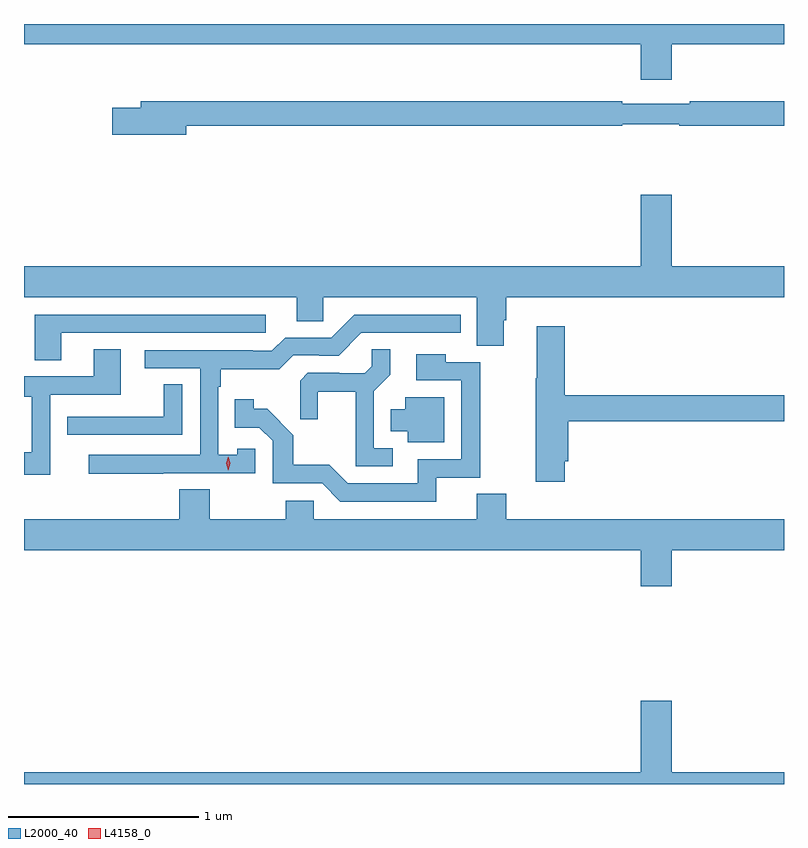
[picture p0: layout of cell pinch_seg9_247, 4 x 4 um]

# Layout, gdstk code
import gdstk
lib = gdstk.Library(unit=1e-6, precision=1e-09)
def P(c, l, *ps):  # polygons
    for p in ps: c.add(gdstk.Polygon(p, *l))
L2000_40 = (2000, 40)
L4158_0 = (4158, 0)

pinch_seg9_247 = lib.new_cell('pinch_seg9_247')
P(pinch_seg9_247, L2000_40, [(452.884,1248.368),(453.475,1248.368),(453.475,1248.474),(449.475,1248.474),(449.475,1248.368),(452.72,1248.368),(452.72,1248.18),(452.884,1248.18)],
  [(450.328,1247.938),(452.624,1247.938),(452.624,1247.946),(452.924,1247.946),(452.924,1247.938),(453.475,1247.938),(453.475,1248.067),(452.98,1248.067),(452.98,1248.054),(452.624,1248.054),(452.624,1248.067),(450.089,1248.067),(450.089,1248.033),(449.94,1248.033),(449.94,1247.891),(450.328,1247.891)],
  [(451.999,1246.914),(452.012,1246.914),(452.012,1247.036),(453.475,1247.036),(453.475,1247.2),(452.884,1247.2),(452.884,1247.575),(452.72,1247.575),(452.72,1247.2),(449.475,1247.2),(449.475,1247.036),(450.911,1247.036),(450.911,1246.909),(451.05,1246.909),(451.05,1247.036),(451.859,1247.036),(451.859,1246.78),(451.999,1246.78)],
  [(449.671,1246.848),(450.748,1246.848),(450.748,1246.944),(449.531,1246.944),(449.531,1246.705),(449.671,1246.705)],
  [(450.209,1246.11),(450.693,1246.11),(450.693,1246.239),(450.597,1246.239),(450.597,1246.207),(450.498,1246.207),(450.498,1246.565),(450.511,1246.565),(450.511,1246.658),(450.818,1246.658),(450.891,1246.731),(451.03,1246.731),(451.03,1246.728),(451.131,1246.728),(451.251,1246.848),(451.774,1246.848),(451.774,1246.944),(451.212,1246.944),(451.092,1246.824),(450.849,1246.824),(450.78,1246.755),(450.68,1246.755),(450.68,1246.758),(450.111,1246.758),(450.111,1246.662),(450.402,1246.662),(450.402,1246.206),(449.817,1246.206),(449.817,1246.108),(450.209,1246.108)],
  [(452.321,1246.173),(452.339,1246.173),(452.339,1246.384),(453.475,1246.384),(453.475,1246.52),(452.321,1246.52),(452.321,1246.882),(452.174,1246.882),(452.174,1246.609),(452.168,1246.609),(452.168,1246.064),(452.321,1246.064)],
  [(449.613,1246.524),(449.983,1246.524),(449.983,1246.763),(449.843,1246.763),(449.843,1246.62),(449.475,1246.62),(449.475,1246.512),(449.516,1246.512),(449.516,1246.221),(449.475,1246.221),(449.475,1246.101),(449.613,1246.101)],
  [(451.417,1246.242),(451.317,1246.242),(451.317,1246.541),(451.403,1246.627),(451.403,1246.763),(451.305,1246.763),(451.305,1246.672),(451.268,1246.635),(451.134,1246.635),(451.134,1246.638),(450.969,1246.638),(450.928,1246.597),(450.928,1246.395),(451.022,1246.395),(451.022,1246.538),(451.22,1246.538),(451.22,1246.146),(451.417,1246.146)],
  [(451.646,1246.086),(451.877,1246.086),(451.877,1246.695),(451.695,1246.695),(451.695,1246.735),(451.539,1246.735),(451.539,1246.599),(451.776,1246.599),(451.776,1246.182),(451.547,1246.182),(451.547,1246.056),(451.179,1246.056),(451.081,1246.155),(450.892,1246.155),(450.892,1246.31),(450.754,1246.448),(450.684,1246.448),(450.684,1246.498),(450.583,1246.498),(450.583,1246.35),(450.714,1246.35),(450.783,1246.281),(450.783,1246.056),(451.044,1246.056),(451.14,1245.96),(451.646,1245.96)],
  [(450.309,1246.577),(450.211,1246.577),(450.211,1246.407),(449.815,1246.407),(449.815,1246.406),(449.703,1246.406),(449.703,1246.311),(450.309,1246.311)],
  [(451.687,1246.51),(451.481,1246.51),(451.481,1246.447),(451.406,1246.447),(451.406,1246.331),(451.496,1246.331),(451.496,1246.274),(451.687,1246.274)],
  [(452.884,1245.704),(453.475,1245.704),(453.475,1245.868),(452.012,1245.868),(452.012,1246.001),(451.859,1246.001),(451.859,1245.868),(450.999,1245.868),(450.999,1245.966),(450.853,1245.966),(450.853,1245.868),(450.453,1245.868),(450.453,1246.025),(450.293,1246.025),(450.293,1245.868),(449.475,1245.868),(449.475,1245.704),(452.72,1245.704),(452.72,1245.516),(452.884,1245.516)],
  [(453.475,1244.536),(452.884,1244.536),(452.884,1244.911),(452.72,1244.911),(452.72,1244.536),(449.475,1244.536),(449.475,1244.474),(453.475,1244.474)])
P(pinch_seg9_247, L4158_0, [(450.55,1246.125),(450.55,1246.125),(450.54,1246.161),(450.55,1246.197),(450.55,1246.197),(450.55,1246.197),(450.56,1246.161),(450.55,1246.125)])

lib.write_gds('pinch_seg9_247.gds')
